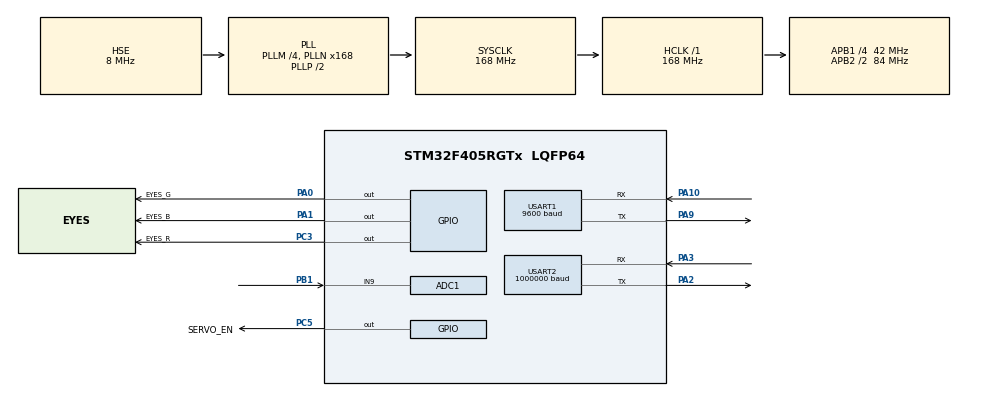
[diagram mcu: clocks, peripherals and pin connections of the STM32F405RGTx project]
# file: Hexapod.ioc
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ADC1.Channel-0\#ChannelRegularConversion=ADC_CHANNEL_9
ADC1.NbrOfConversionFlag=1
ADC1.Rank-0\#ChannelRegularConversion=1
ADC1.SamplingTime-0\#ChannelRegularConversion=ADC_SAMPLETIME_3CYCLES
ADC1.master=1
Mcu.Family=STM32F4
Mcu.Name=STM32F405RGTx
Mcu.Package=LQFP64
NVIC.PriorityGroup=NVIC_PRIORITYGROUP_4
NVIC.USART1_IRQn=true\:0\:0\:false\:false\:true\:true\:true\:true
NVIC.USART2_IRQn=true\:0\:0\:false\:false\:true\:true\:true\:true
PA0-WKUP.GPIO_Label=EYES_G
PA0-WKUP.Signal=GPIO_Output
PA1.GPIO_Label=EYES_B
PA1.Signal=GPIO_Output
PA10.Mode=Asynchronous
PA10.Signal=USART1_RX
PA2.Mode=Asynchronous
PA2.Signal=USART2_TX
PA3.Mode=Asynchronous
PA3.Signal=USART2_RX
PA9.Mode=Asynchronous
PA9.Signal=USART1_TX
PB1.Signal=ADCx_IN9
PC3.GPIO_Label=EYES_R
PC3.Signal=GPIO_Output
PC5.GPIO_Label=SERVO_EN
PC5.Signal=GPIO_Output
PH0-OSC_IN.Mode=HSE-External-Oscillator
PH0-OSC_IN.Signal=RCC_OSC_IN
PH1-OSC_OUT.Mode=HSE-External-Oscillator
PH1-OSC_OUT.Signal=RCC_OSC_OUT
ProjectManager.HeapSize=0x200
ProjectManager.StackSize=0x400
ProjectManager.TargetToolchain=STM32CubeIDE
RCC.48MHZClocksFreq_Value=84000000
RCC.AHBFreq_Value=168000000
RCC.APB1CLKDivider=RCC_HCLK_DIV4
RCC.APB1Freq_Value=42000000
RCC.APB1TimFreq_Value=84000000
RCC.APB2CLKDivider=RCC_HCLK_DIV2
RCC.APB2Freq_Value=84000000
RCC.APB2TimFreq_Value=168000000
RCC.CortexFreq_Value=168000000
RCC.HCLKFreq_Value=168000000
RCC.HSE_VALUE=8000000
RCC.HSI_VALUE=16000000
RCC.LSE_VALUE=32768
RCC.PLLM=4
RCC.PLLN=168
RCC.PLLSourceVirtual=RCC_PLLSOURCE_HSE
RCC.SYSCLKFreq_VALUE=168000000
RCC.SYSCLKSource=RCC_SYSCLKSOURCE_PLLCLK
RCC.VCOOutputFreq_Value=336000000
SH.ADCx_IN9.0=ADC1_IN9,IN9
USART1.BaudRate=9600
USART1.VirtualMode=VM_ASYNC
USART2.BaudRate=1000000
USART2.VirtualMode=VM_ASYNC
board=custom

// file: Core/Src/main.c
/* USER CODE BEGIN Header */
/**
  ******************************************************************************
  * @file           : main.c
  * @brief          : Main program body
  ******************************************************************************
  * @attention
  *
  * Copyright (c) 2024 STMicroelectronics.
  * All rights reserved.
  *
  * This software is licensed under terms that can be found in the LICENSE file
  * in the root directory of this software component.
  * If no LICENSE file comes with this software, it is provided AS-IS.
  *
  ******************************************************************************
  */
/* USER CODE END Header */
#include "main.h"

/* USER CODE BEGIN Includes */

#include <math.h>
#include <stdio.h>
#include <string.h>

/* USER CODE END Includes */

ADC_HandleTypeDef hadc1;

UART_HandleTypeDef huart1;
UART_HandleTypeDef huart2;

void SystemClock_Config(void);
static void MX_GPIO_Init(void);
static void MX_USART1_UART_Init(void);
static void MX_USART2_UART_Init(void);
static void MX_ADC1_Init(void);

/* USER CODE BEGIN 0 */

#define true 1
#define false 0

// Servo Registers
#define SMS_STS_ID				5 // For setting ID
#define SCSCL_GOAL_POSITION_L	42
#define SMS_STS_LOCK			55

// Servo Commands
#define INST_WRITE	0x03

#define HIP_OFFSET		30 // mm - the distance from yaw to pitch axes in hip joint
#define THIGH_LENGTH	100 // mm
#define CALF_LENGTH		120 // mm
#define PI	3.14159265f

// Calibration mode sets all the servos to zero point, calibrate for legs straight out
#define CALIBRATION_MODE	false

// Leg enum for arrays etc
enum { FRONT_LEFT, MID_LEFT, REAR_LEFT, REAR_RIGHT, MID_RIGHT, FRONT_RIGHT };

enum { RED, GREEN, BLUE }; // Eye colours

enum { WALK_TYPE, LEFT_X, LEFT_Y, RIGHT_X, RIGHT_Y }; // Walk type and joystick axes, as received from controller

// Different walking types are sent as bitfield, first byte of command message
#define WIGGLE_BIT		0b00000001 // Bit 0 for wiggle vs walk mode
#define HIGH_STEP_BIT	0b00000010 // Bit 1 for normal or high step
#define HIGH_BODY_BIT	0b00000100 // Bit 2 for normal or high body
#define QUICK_STEP_BIT	0b00001000 // Bit 3 for normal or quick (shorter) steps
#define RIPPLE_BIT		0b00010000 // Bit 4 to select ripple gait instead of tripod

typedef struct
{
	float x;
	float y;
	float z;
} Point;
Point footNeutralPoint[6];

typedef struct
{
	float x;
	float y;
	float z;
	float yaw;
} HipLocation;
HipLocation hipLocation[6];

// A couple of legs are assembled with 2nd and 3rd servos mirrored for better cable routing
float directions[19] = { 0, 1, 1, 1, 1, 1, 1, 1, -1, -1, 1, 1, 1, 1, 1, 1, 1, -1, -1 };

float calibrations[19] = { 0, -4, 1, 9, -4, 2, 14, -1, -3, 8, -2, -4, 12, -3, 0, 11, 1, 0, 6 };

typedef struct
{
	float minAngle;
	float maxAngle;
} ServoLimits;
ServoLimits servo[19]; // 19 because servo IDs start from 1; 0 will be unused

uint8_t rxData[10];  //  creating a buffer of 10 bytes
uint8_t charReceived = 0;

uint8_t controller[5] = { 0, 128, 128, 128, 128 }; // Initialise with default walk mode and middle joystick axes
uint8_t controllerUpdate[6] = { 0, 0, 0, 0, 0, 0 }; // Cache and verify checksum before updating values above
int8_t cIndex = -1;

void SetEyeColour(char colour)
{
	HAL_GPIO_WritePin(GPIOC, EYES_R_Pin, GPIO_PIN_RESET);
	HAL_GPIO_WritePin(GPIOA, EYES_G_Pin|EYES_B_Pin, GPIO_PIN_RESET);

	if (colour == RED)
		HAL_GPIO_WritePin(GPIOC, EYES_R_Pin, GPIO_PIN_SET);
	else if (colour == GREEN)
		HAL_GPIO_WritePin(GPIOA, EYES_G_Pin, GPIO_PIN_SET);
	else if (colour == BLUE)
		HAL_GPIO_WritePin(GPIOA, EYES_B_Pin, GPIO_PIN_SET);
}

void HAL_UART_RxCpltCallback(UART_HandleTypeDef *huart)
{
	if (rxData[0] == 'c' && cIndex < 0) // Start of controller message
	{
		cIndex = 0;
	}
	else if (cIndex >= 0)
	{
		controllerUpdate[cIndex] = rxData[0];
		if (cIndex == 5) // Just wrote checksum to array
		{
			if ((uint8_t)(controllerUpdate[0] + controllerUpdate[1] + controllerUpdate[2] + controllerUpdate[3] + controllerUpdate[4]) == controllerUpdate[5])
				for (int n=0; n<5; n++)
					controller[n] = controllerUpdate[n];
			cIndex = -1;
		}
		else
			cIndex++;
	}
	else
		charReceived = rxData[0];

	HAL_UART_Receive_IT(huart, rxData, 1);
}

float DegreesToRadians(float angle)
{
	return angle*PI/180.0f;
}

float RadiansToDegrees(float angle)
{
	return angle*180.0f/PI;
}

void SetServoLimits(uint8_t id, float minAngle, float maxAngle)
{
	servo[id].minAngle = minAngle;
	servo[id].maxAngle = maxAngle;
}

void SetHipLocation(uint8_t leg, float x, float y, float z, float yaw)
{
	hipLocation[leg].x = x;
	hipLocation[leg].y = y;
	hipLocation[leg].z = z;
	hipLocation[leg].yaw = yaw;

	float length = 150; // mm from hip yaw joint
	if (leg == FRONT_LEFT || leg == REAR_RIGHT) yaw += 10; // Space front and rear legs out by 10 degrees
	if (leg == REAR_LEFT || leg == FRONT_RIGHT) yaw -= 10;
	footNeutralPoint[leg].x = x + length*sinf(DegreesToRadians(yaw));
	//footNeutralPoint[leg].y = -100; // TODO: Parameterise? #define?
	footNeutralPoint[leg].z = z + length*cosf(DegreesToRadians(yaw));
}

char WriteToServo(uint8_t id, uint8_t address, uint8_t* data, uint8_t length)
{
	uint8_t header[6];
	header[0] = 0xFF;
	header[1] = 0xFF;
	header[2] = id;
	header[3] = 3 + length;
	header[4] = INST_WRITE;
	header[5] = address;
	HAL_UART_Transmit(&huart2, header, sizeof(header), HAL_MAX_DELAY);

	HAL_UART_Transmit(&huart2, data, length, HAL_MAX_DELAY);

	uint8_t checksum = header[2] + header[3] + header[4] + header[5];
	for (int n=0; n<length; n++)
		checksum += data[n];
	checksum = ~checksum;
	HAL_UART_Transmit(&huart2, &checksum, 1, HAL_MAX_DELAY);

	// Check reply / ack.. for some reason we have an extra byte at the start, not sure why, maybe tail end of TX in half duplex?
	uint8_t reply[10];
	if (HAL_UART_Receive(&huart2, reply, 7, 100) == HAL_OK)
	{
		// Bytes are 2x 0xFF header, ID, message length (2), result (0 for success), checksum
		checksum = ~(reply[3] + reply[4] + reply[5]);
		return !(reply[1] != 0xFF
				|| reply[2] != 0xFF
				|| reply[3] != id
				|| reply[4] != 2
				|| reply[5] != 0 // success status
				|| reply[6] != checksum); // true for success, false for fail
	}
	else
		return false;
}

char MoveServo(uint8_t id, float angle, uint16_t speed)
{
	if (angle < servo[id].minAngle) angle = servo[id].minAngle;
	if (angle > servo[id].maxAngle) angle = servo[id].maxAngle;
	angle += calibrations[id];

	uint16_t position = (uint16_t)(2048.0f + angle / 90.0f * 1024.0f * directions[id]); // Servos do 90 degrees per 1024 resolution counts
	// Speed is steps per second, about 3000 maximum for LS servo, 6000 for HS servo, use 0 for maximum

	uint8_t data[6];
	data[0] = position&0xFF;
	data[1] = position>>8;
	data[2] = 0; // These two bytes are for "time" but don't seem to do anything
	data[3] = 0;
	data[4] = speed&0xFF;
	data[5] = speed>>8;
	return WriteToServo(id, SCSCL_GOAL_POSITION_L, data, sizeof(data)); // true for success, false for fail
}

char SetServoID(uint8_t oldID, uint8_t newID)
{
	// unlock eprom writes 0 to SMS_STS_LOCK, lock writes 1 to it
	uint8_t lock = 0;
	uint8_t unlock = 1;
	WriteToServo(oldID, SMS_STS_LOCK, &lock, 1);
	WriteToServo(oldID, SMS_STS_ID, &newID, 1);
	return WriteToServo(newID, SMS_STS_LOCK, &unlock, 1);
}

void MoveLeg(uint8_t leg, Point target) // leg is enum 0-5, target is absolute coords relative to centre of body
{
	// Transform requested coordinate into leg's reference frame.. Translation first
	target.x -= hipLocation[leg].x;
	target.z -= hipLocation[leg].z;
	// Then rotation [ cos(θ) −sin(θ) | sin(θ) cos(θ) ]
	float angle = DegreesToRadians(hipLocation[leg].yaw);
	float x = target.x * cosf(angle) - target.z * sinf(angle);
	float z = target.x * sinf(angle) + target.z * cosf(angle);
	float y = target.y;

	// Inverse Kinematics to get joint angles
	float yaw = atanf(x/z);
	float shadowLength = sqrtf(x*x+z*z) - HIP_OFFSET;
	float linearDistanceToFoot = sqrtf(shadowLength*shadowLength + y*y);
	float angleOfElevationToFoot = atanf(y/shadowLength);

	float hipAngle, kneeAngle;
	if (linearDistanceToFoot > CALF_LENGTH + THIGH_LENGTH)
	{
		// Too far! Just do straight leg pointing at target (IK would flip out)
		hipAngle = angleOfElevationToFoot;
		kneeAngle = 0;
	}
	else // Target is within reach
	{
		// Law of cosines: angle = acosf( ( a^2 + b^2 - c^2) / 2ab )
		// where a and b are adjacent sides to angle, c is opposite
		float insideAngle = acosf((THIGH_LENGTH*THIGH_LENGTH + linearDistanceToFoot*linearDistanceToFoot - CALF_LENGTH*CALF_LENGTH) / (2*THIGH_LENGTH*linearDistanceToFoot));
		hipAngle = angleOfElevationToFoot + insideAngle;
		kneeAngle = PI - acosf((THIGH_LENGTH*THIGH_LENGTH + CALF_LENGTH*CALF_LENGTH - linearDistanceToFoot*linearDistanceToFoot) / (2*THIGH_LENGTH*CALF_LENGTH));
	}

	// Send angles to servos
	MoveServo(leg*3+1, RadiansToDegrees(yaw), 0);
	MoveServo(leg*3+2, -RadiansToDegrees(hipAngle), 0); // Positive angles for hip bend down?
	MoveServo(leg*3+3, -RadiansToDegrees(kneeAngle), 0); // Positive angles for knee bend up?

}

float ScaleJoystickValues(uint8_t axis)
{
	float scaled = ((float)(controller[axis])-128.0f)*0.78f; // converts 0-255 to -100 to 100
	if (scaled < 10.0f && scaled > -10.0f) scaled = 0; // 10% deadband
	return scaled;
}

float Slew(float current, float target, float stepSize)
{
	if (current + stepSize > target && current - stepSize < target)
		return target;
	if (target > current) current += stepSize;
	if (target < current) current -= stepSize;
	return current;
}

/* USER CODE END 0 */

int main(void)
{

  /* MCU Configuration--------------------------------------------------------*/

  /* Reset of all peripherals, Initializes the Flash interface and the Systick. */
  HAL_Init();

  /* Configure the system clock */
  SystemClock_Config();

  /* Initialize all configured peripherals */
  MX_GPIO_Init();
  MX_USART1_UART_Init();
  MX_USART2_UART_Init();
  MX_ADC1_Init();

  /* Infinite loop */
  /* USER CODE BEGIN WHILE */

  //HAL_UART_RegisterCallback(&huart1, HAL_UART_RX_COMPLETE_CB_ID, HAL_UART_RxCpltCallback);
  HAL_UART_Receive_IT(&huart1, rxData, 1);

  for (int n=0; n<6; n++)
  {
	  SetServoLimits(1+3*n, -35, 35);
	  SetServoLimits(2+3*n, -35, 35);
	  SetServoLimits(3+3*n, -120, 20);
  }

  SetHipLocation(FRONT_LEFT, -60, 0, 58, -60);
  SetHipLocation(MID_LEFT, -75, 0, 0, -90);
  SetHipLocation(REAR_LEFT, -60, 0, -58, -120);
  SetHipLocation(REAR_RIGHT, 60, 0, -58, 120);
  SetHipLocation(MID_RIGHT, 75, 0, 0, 90);
  SetHipLocation(FRONT_RIGHT, 60, 0, 58, 60);

  int servoAngle[19] = { 0, 0, 0, 0, 0, 0, 0, 0, 0, 0, 0, 0, 0, 0, 0, 0, 0, 0, 0 };

  int servoID = 1;

  char txBuffer[30];
  char* failMsg = "FAILED!\r\n";

  uint32_t lastTick = HAL_GetTick();
  float strideTimer = 0;
  float strideLengthX = 0;
  float strideLengthZ = 0;
  float rotationRate = 0;
  float bodyPitch = 0;
  float rideHeight = 80;

  //float targetStrideLengthX = 0;
  //float targetStrideLengthZ = 0;
  //float targetRotationRate = 0;
  //float targetBodyPitch = 0;

  float wigglePitch = 0;
  float wiggleRoll = 0;
  float wiggleYaw = 0;
  float wiggleHeight = rideHeight;

  int socTxTimer = 0;

  HAL_GPIO_WritePin(GPIOC, SERVO_EN_Pin, GPIO_PIN_SET); // Enable servos
  SetEyeColour(GREEN);

  while (1)
  {
    /* USER CODE END WHILE */

    /* USER CODE BEGIN 3 */

	  if (charReceived)
	  {
		  if (charReceived == 'r') SetEyeColour(RED);
		  if (charReceived == 'g') SetEyeColour(GREEN);
		  if (charReceived == 'b') SetEyeColour(BLUE);

		  if (CALIBRATION_MODE)
		  {
			  if (charReceived == 'a' || charReceived == 's')
			  {
				  if (charReceived == 'a') servoAngle[servoID] -= 1;
				  if (charReceived == 's') servoAngle[servoID] += 1;

				  //MoveServo(servoID, servoAngle, 0);

				  sprintf(txBuffer, "ID %d, Angle = %d\r\n", servoID, servoAngle[servoID]);
				  HAL_UART_Transmit(&huart1, (uint8_t*)txBuffer, strlen(txBuffer), HAL_MAX_DELAY);

				  if (!MoveServo(servoID, servoAngle[servoID], 0))
					  HAL_UART_Transmit(&huart1, (uint8_t*)failMsg, strlen(failMsg), HAL_MAX_DELAY);
			  }
			  else if (charReceived == '-' || charReceived == '=')
			  {
				  if (charReceived == '-' && servoID > 1) servoID--;
				  if (charReceived == '=' && servoID < 18) servoID++;
				  sprintf(txBuffer, "Selected servo %d\r\n", servoID);
				  HAL_UART_Transmit(&huart1, (uint8_t*)txBuffer, strlen(txBuffer), HAL_MAX_DELAY);
			  }
		  }

		  charReceived = 0;
	  }

	  uint32_t now = HAL_GetTick();
	  int pollingRate = 20; // Milliseconds per update
	  if (CALIBRATION_MODE) pollingRate = 200; // 5Hz
	  if (now > lastTick+pollingRate)
	  {
		  lastTick += pollingRate;

		  //if (now > lastTick + pollingRate) // ERROR: Main loop not keeping up!
			//  SetEyeColour(RED);

		  if (CALIBRATION_MODE)
		  {
			  for (int id=1; id<=18; id++)
				  if (!MoveServo(id, servoAngle[id], 0))
					  HAL_UART_Transmit(&huart1, (uint8_t*)failMsg, strlen(failMsg), HAL_MAX_DELAY);
		  }
		  else if (controller[WALK_TYPE] & WIGGLE_BIT)
		  {
			  wigglePitch = Slew(wigglePitch, ScaleJoystickValues(LEFT_Y)*0.2f, 2.0f); // ±20deg
			  wiggleRoll = Slew(wiggleRoll, ScaleJoystickValues(LEFT_X)*0.2f, 2.0f);
			  wiggleYaw = Slew(wiggleYaw, ScaleJoystickValues(RIGHT_X)*0.2f, 2.0f);
			  wiggleHeight = Slew(wiggleHeight, 100.0f+ScaleJoystickValues(RIGHT_Y)*0.5f, 8.0f);

			  for (int leg = FRONT_LEFT; leg <= FRONT_RIGHT; leg++)
			  {
				  Point target;
				  float tempX = footNeutralPoint[leg].x;
				  float tempY = -wiggleHeight;
				  float tempZ = footNeutralPoint[leg].z;

				  float pitch = DegreesToRadians(wigglePitch);
				  float roll = DegreesToRadians(wiggleRoll);
				  float yaw = DegreesToRadians(wiggleYaw);

				  // Pitch, affects Y and Z
				  float tempY2 = tempY * cosf(pitch) - tempZ * sinf(pitch);
				  float tempZ2 = tempY * sinf(pitch) + tempZ * cosf(pitch);

				  // Roll, affects X and Y
				  float tempX2 = tempX * cosf(roll) - tempY2 * sinf(roll);
				  target.y = tempX * sinf(roll) + tempY2 * cosf(roll);

				  // Yaw, affects X and Z
				  target.x = tempX2 * cosf(yaw) - tempZ2 * sinf(yaw);
				  target.z = tempX2 * sinf(yaw) + tempZ2 * cosf(yaw);

				  MoveLeg(leg, target);
			  }
		  }
		  else
		  {
			  //targetStrideLengthX = ScaleJoystickValues(LEFT_X);
			  //targetStrideLengthZ = ScaleJoystickValues(LEFT_Y);
			  //targetRotationRate = ScaleJoystickValues(RIGHT_X)*0.7f; // This one was a bit strong, needed to scale down somewhat
			  //targetBodyPitch = ScaleJoystickValues(RIGHT_Y) *0.2f; // ±20 degrees

			  strideLengthZ = Slew(strideLengthZ, ScaleJoystickValues(LEFT_Y), 4.0f);
			  strideLengthX = Slew(strideLengthX, ScaleJoystickValues(LEFT_X), 4.0f);
			  rotationRate = Slew(rotationRate, ScaleJoystickValues(RIGHT_X)*0.8f, 4.0f);
			  bodyPitch = Slew(bodyPitch, ScaleJoystickValues(RIGHT_Y)*0.2f, 1.0f);

			  /*
			  float rampRate = 2.0f; // Interplays with polling rate of course
			  if (targetStrideLengthZ > strideLengthZ) strideLengthZ += rampRate;
			  if (targetStrideLengthZ < strideLengthZ) strideLengthZ -= rampRate;
			  if (targetStrideLengthX > strideLengthX) strideLengthX += rampRate;
			  if (targetStrideLengthX < strideLengthX) strideLengthX -= rampRate;
			  if (targetRotationRate < rotationRate) rotationRate -= rampRate;
			  if (targetRotationRate > rotationRate) rotationRate += rampRate;
			  if (targetBodyPitch < bodyPitch) bodyPitch -= rampRate;
			  if (targetBodyPitch > bodyPitch) bodyPitch += rampRate;
			  */

			  float legLiftHeight = sqrtf(strideLengthX*strideLengthX+strideLengthZ*strideLengthZ+rotationRate*rotationRate);
			  if (legLiftHeight > 50) legLiftHeight = 50;

			  if (controller[WALK_TYPE] & HIGH_STEP_BIT) legLiftHeight *= 2.0f;

			  // Approximation of total stride length, which we'll use to limit angles
			  float totalStrideLength = sqrtf(strideLengthX*strideLengthX+strideLengthZ*strideLengthZ) + fabs(rotationRate); // Rotation needed a bit extra
			  float scalingFactor = 1;
			  if (totalStrideLength > 100.0f)
				  scalingFactor = 100.0f / totalStrideLength;

			  float targetHeight = 60; // Squat when not moving
			  if (controller[WALK_TYPE] & HIGH_BODY_BIT)
				  targetHeight = 150;
			  else if (legLiftHeight > 1) targetHeight = 100;
			  if (targetHeight > rideHeight) rideHeight += 2;
			  if (targetHeight < rideHeight) rideHeight -= 2;

			  float cadence = 2.0f - 0.01f*totalStrideLength*scalingFactor; // So, 2.0s for shortest steps, 1s for long steps

			  if (controller[WALK_TYPE] & QUICK_STEP_BIT)
			  {
				  scalingFactor *= 0.5f; // Shorter steps
				  cadence *= 0.5f; // Faster steps
			  }

			  strideTimer += (float)pollingRate/1000.0f/cadence;
			  if (strideTimer > 1) strideTimer -= 1;

			  for (int leg = FRONT_LEFT; leg <= FRONT_RIGHT; leg++)
			  {

				  Point target;
				  float rotation;
				  if (controller[WALK_TYPE] & RIPPLE_BIT)
				  {
					  // Ripple gait: Each leg 1/6th out of phase with others
					  // Sequence is rear left, front right, mid left, rear right, front left, mid right
					  // Each leg on ground 2/3rds of the time, quick semicircle return after
					  float t = strideTimer;
					  if (leg == REAR_LEFT) t += 0.833f; // Most advanced in gait sequence
					  if (leg == FRONT_RIGHT) t += 0.667;
					  if (leg == MID_LEFT) t += 0.5f;
					  if (leg == REAR_RIGHT) t += 0.333f;
					  if (leg == FRONT_LEFT) t += 0.167f;
					  // MID_RIGHT is last in sequence, no change

					  if (t > 1.0f) t -= 1.0f;

					  if (t < 0.6666f) // Horizontal drag part of gait
					  {
						  t *= 0.75f; // Convert to 0-0.5 range so it works with the normal gait algorithm

						  target.x = footNeutralPoint[leg].x + strideLengthX * scalingFactor * (0.5f - t*2.0f);
						  target.y = -rideHeight;
						  target.z = footNeutralPoint[leg].z + strideLengthZ * scalingFactor * (0.5f - t*2.0f);
						  rotation = DegreesToRadians((-0.5f+t*2.0f)*rotationRate)*0.25f;
						  // The 0.25 gets it into similar units as strides, e.g 100 rotation rate -> ~100mm steps
					  }
					  else // Return arc
					  {
						  // Convert t from 0.666-1.0 range into 0.5-1.0 so it works with normal gait algorithm
						  t = 0.5f + (t-0.6666f)*1.5f;

						  float angle = PI * (t-0.5f)*2.0f; // strideTimer of 0.5-1.0 converted to 0-PI radians
						  target.x = footNeutralPoint[leg].x - strideLengthX * scalingFactor * 0.5f * cosf(angle);
						  target.y = -rideHeight + legLiftHeight * sinf(angle);
						  target.z = footNeutralPoint[leg].z - strideLengthZ * scalingFactor * 0.5f * cosf(angle);
						  rotation = DegreesToRadians((0.5f - (t-0.5f)*2.0f)*rotationRate * scalingFactor)*0.25f;
					  }
				  }
				  else
				  {
					  // Tripod gait: Each foot down for 50% of the time, alternating flat drag then semicircle return
					  float t = strideTimer;
					  if (leg == MID_LEFT || leg == REAR_RIGHT || leg == FRONT_RIGHT)
						  t = strideTimer + 0.5f; // Half the legs are opposite phase
					  if (t > 1.0f) t -= 1.0f;

					  if (t < 0.5f) // Horizontal drag part of gait
					  {
						  target.x = footNeutralPoint[leg].x + strideLengthX * scalingFactor * (0.5f - t*2.0f);
						  target.y = -rideHeight;
						  target.z = footNeutralPoint[leg].z + strideLengthZ * scalingFactor * (0.5f - t*2.0f);
						  rotation = DegreesToRadians((-0.5f+t*2.0f)*rotationRate)*0.25f;
						  // The 0.25 gets it into similar units as strides, e.g 100 rotation rate -> ~100mm steps
					  }
					  else // Return arc
					  {
						  float angle = PI * (t-0.5f)*2.0f; // strideTimer of 0.5-1.0 converted to 0-PI radians
						  target.x = footNeutralPoint[leg].x - strideLengthX * scalingFactor * 0.5f * cosf(angle);
						  target.y = -rideHeight + legLiftHeight * sinf(angle);
						  target.z = footNeutralPoint[leg].z - strideLengthZ * scalingFactor * 0.5f * cosf(angle);
						  rotation = DegreesToRadians((0.5f - (t-0.5f)*2.0f)*rotationRate * scalingFactor)*0.25f;
					  }
				  }

				  // Add rotation offsets about body centre, in sync with steps, matrix is [ cos(θ) −sin(θ) | sin(θ) cos(θ) ]
				  // Want similar units - degrees per second is about right?
				  float tempX = target.x;
				  float tempZ = target.z;
				  target.x = tempX * cosf(rotation) - tempZ * sinf(rotation);
				  target.z = tempX * sinf(rotation) + tempZ * cosf(rotation);

				  // Add body pitching
				  float tempY = target.y;
				  tempZ = target.z;
				  float pitch = DegreesToRadians(bodyPitch);
				  target.y = tempY * cosf(pitch) - tempZ * sinf(pitch);
				  target.z = tempY * sinf(pitch) + tempZ * cosf(pitch);

				  MoveLeg(leg, target);
			  }

		  }

		  // Read pack voltage and transmit back to controller at 1Hz
		  if (++socTxTimer >= 1000/pollingRate && !CALIBRATION_MODE)
		  {
			  socTxTimer = 0;

			  HAL_ADC_Start(&hadc1);
			  if (HAL_ADC_PollForConversion(&hadc1, HAL_MAX_DELAY) == HAL_OK)
			  {
				  int adcValue = HAL_ADC_GetValue(&hadc1);

				  //if (adcValue > 1000 && adcValue < 1500) SetEyeColour(RED); // Testing!! Should pass if working

				  // Batt voltage measured via 10K:1K divider, i.e divide by 11
				  // 12 bit ADC = 0-4095 for 0-3.3V, 0.806 mV per ADC, 8.86 mV from battery per ADC
				  // 1422 ADC is 12.6V = 100%, 1016 ADC is 9V = 0%

				  uint8_t SoC = (adcValue-1016)/4;
				  if (SoC > 100) SoC = 100;
				  HAL_UART_Transmit(&huart1, &SoC, 1, HAL_MAX_DELAY);
			  }
		  }
	  }

  }
  /* USER CODE END 3 */
}

void SystemClock_Config(void)
{
  RCC_OscInitTypeDef RCC_OscInitStruct = {0};
  RCC_ClkInitTypeDef RCC_ClkInitStruct = {0};

  /** Configure the main internal regulator output voltage
  */
  __HAL_RCC_PWR_CLK_ENABLE();
  __HAL_PWR_VOLTAGESCALING_CONFIG(PWR_REGULATOR_VOLTAGE_SCALE1);

  /** Initializes the RCC Oscillators according to the specified parameters
  * in the RCC_OscInitTypeDef structure.
  */
  RCC_OscInitStruct.OscillatorType = RCC_OSCILLATORTYPE_HSE;
  RCC_OscInitStruct.HSEState = RCC_HSE_ON;
  RCC_OscInitStruct.PLL.PLLState = RCC_PLL_ON;
  RCC_OscInitStruct.PLL.PLLSource = RCC_PLLSOURCE_HSE;
  RCC_OscInitStruct.PLL.PLLM = 4;
  RCC_OscInitStruct.PLL.PLLN = 168;
  RCC_OscInitStruct.PLL.PLLP = RCC_PLLP_DIV2;
  RCC_OscInitStruct.PLL.PLLQ = 4;
  if (HAL_RCC_OscConfig(&RCC_OscInitStruct) != HAL_OK)
  {
    Error_Handler();
  }

  /** Initializes the CPU, AHB and APB buses clocks
  */
  RCC_ClkInitStruct.ClockType = RCC_CLOCKTYPE_HCLK|RCC_CLOCKTYPE_SYSCLK
                              |RCC_CLOCKTYPE_PCLK1|RCC_CLOCKTYPE_PCLK2;
  RCC_ClkInitStruct.SYSCLKSource = RCC_SYSCLKSOURCE_PLLCLK;
  RCC_ClkInitStruct.AHBCLKDivider = RCC_SYSCLK_DIV1;
  RCC_ClkInitStruct.APB1CLKDivider = RCC_HCLK_DIV4;
  RCC_ClkInitStruct.APB2CLKDivider = RCC_HCLK_DIV2;

  if (HAL_RCC_ClockConfig(&RCC_ClkInitStruct, FLASH_LATENCY_5) != HAL_OK)
  {
    Error_Handler();
  }
}

static void MX_ADC1_Init(void)
{

  ADC_ChannelConfTypeDef sConfig = {0};

  /** Configure the global features of the ADC (Clock, Resolution, Data Alignment and number of conversion)
  */
  hadc1.Instance = ADC1;
  hadc1.Init.ClockPrescaler = ADC_CLOCK_SYNC_PCLK_DIV4;
  hadc1.Init.Resolution = ADC_RESOLUTION_12B;
  hadc1.Init.ScanConvMode = DISABLE;
  hadc1.Init.ContinuousConvMode = DISABLE;
  hadc1.Init.DiscontinuousConvMode = DISABLE;
  hadc1.Init.ExternalTrigConvEdge = ADC_EXTERNALTRIGCONVEDGE_NONE;
  hadc1.Init.ExternalTrigConv = ADC_SOFTWARE_START;
  hadc1.Init.DataAlign = ADC_DATAALIGN_RIGHT;
  hadc1.Init.NbrOfConversion = 1;
  hadc1.Init.DMAContinuousRequests = DISABLE;
  hadc1.Init.EOCSelection = ADC_EOC_SINGLE_CONV;
  if (HAL_ADC_Init(&hadc1) != HAL_OK)
  {
    Error_Handler();
  }

  /** Configure for the selected ADC regular channel its corresponding rank in the sequencer and its sample time.
  */
  sConfig.Channel = ADC_CHANNEL_9;
  sConfig.Rank = 1;
  sConfig.SamplingTime = ADC_SAMPLETIME_3CYCLES;
  if (HAL_ADC_ConfigChannel(&hadc1, &sConfig) != HAL_OK)
  {
    Error_Handler();
  }

}

static void MX_USART1_UART_Init(void)
{

  huart1.Instance = USART1;
  huart1.Init.BaudRate = 9600;
  huart1.Init.WordLength = UART_WORDLENGTH_8B;
  huart1.Init.StopBits = UART_STOPBITS_1;
  huart1.Init.Parity = UART_PARITY_NONE;
  huart1.Init.Mode = UART_MODE_TX_RX;
  huart1.Init.HwFlowCtl = UART_HWCONTROL_NONE;
  huart1.Init.OverSampling = UART_OVERSAMPLING_16;
  if (HAL_UART_Init(&huart1) != HAL_OK)
  {
    Error_Handler();
  }

}

static void MX_USART2_UART_Init(void)
{

  huart2.Instance = USART2;
  huart2.Init.BaudRate = 1000000;
  huart2.Init.WordLength = UART_WORDLENGTH_8B;
  huart2.Init.StopBits = UART_STOPBITS_1;
  huart2.Init.Parity = UART_PARITY_NONE;
  huart2.Init.Mode = UART_MODE_TX_RX;
  huart2.Init.HwFlowCtl = UART_HWCONTROL_NONE;
  huart2.Init.OverSampling = UART_OVERSAMPLING_16;
  if (HAL_UART_Init(&huart2) != HAL_OK)
  {
    Error_Handler();
  }

}

static void MX_GPIO_Init(void)
{
  GPIO_InitTypeDef GPIO_InitStruct = {0};

  /* GPIO Ports Clock Enable */
  __HAL_RCC_GPIOH_CLK_ENABLE();
  __HAL_RCC_GPIOC_CLK_ENABLE();
  __HAL_RCC_GPIOA_CLK_ENABLE();
  __HAL_RCC_GPIOB_CLK_ENABLE();

  /*Configure GPIO pin Output Level */
  HAL_GPIO_WritePin(GPIOC, EYES_R_Pin|SERVO_EN_Pin, GPIO_PIN_RESET);

  /*Configure GPIO pin Output Level */
  HAL_GPIO_WritePin(GPIOA, EYES_G_Pin|EYES_B_Pin, GPIO_PIN_RESET);

  /*Configure GPIO pins : EYES_R_Pin SERVO_EN_Pin */
  GPIO_InitStruct.Pin = EYES_R_Pin|SERVO_EN_Pin;
  GPIO_InitStruct.Mode = GPIO_MODE_OUTPUT_PP;
  GPIO_InitStruct.Pull = GPIO_NOPULL;
  GPIO_InitStruct.Speed = GPIO_SPEED_FREQ_LOW;
  HAL_GPIO_Init(GPIOC, &GPIO_InitStruct);

  /*Configure GPIO pins : EYES_G_Pin EYES_B_Pin */
  GPIO_InitStruct.Pin = EYES_G_Pin|EYES_B_Pin;
  GPIO_InitStruct.Mode = GPIO_MODE_OUTPUT_PP;
  GPIO_InitStruct.Pull = GPIO_NOPULL;
  GPIO_InitStruct.Speed = GPIO_SPEED_FREQ_LOW;
  HAL_GPIO_Init(GPIOA, &GPIO_InitStruct);

}

void Error_Handler(void)
{
  __disable_irq();
  while (1)
  {
  }
}
